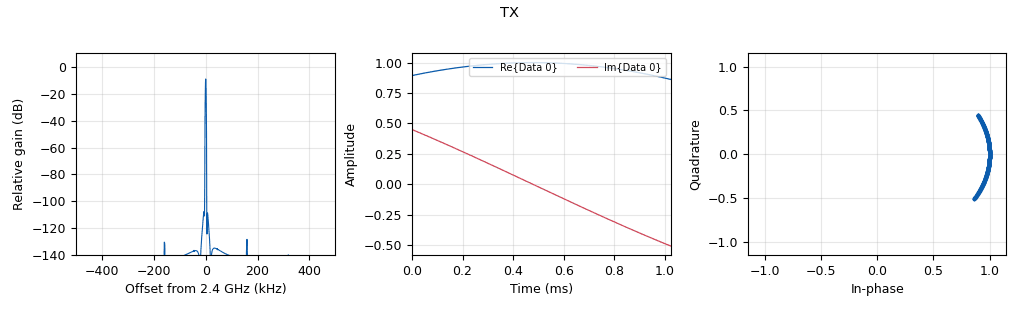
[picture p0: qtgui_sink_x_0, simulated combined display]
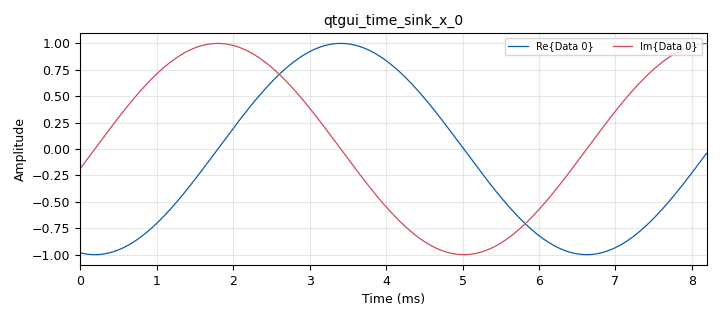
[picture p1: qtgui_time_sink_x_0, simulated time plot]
options:
  parameters:
    author: root
    generate_options: qt_gui
    id: tx
    output_language: python
    title: Tx
  states: {}

blocks:
- name: SDR_ID
  id: variable
  parameters:
    value: '"ip:192.168.2.1"'
  states: {}
- name: bandwidth
  id: variable
  parameters:
    value: '20000000'
  states: {}
- name: buffer_size
  id: variable
  parameters:
    value: '8192'
  states: {}
- name: freq
  id: variable
  parameters:
    value: '2400000000'
  states: {}
- name: gain
  id: variable
  parameters:
    value: '0'
  states: {}
- name: ls1_d0
  id: variable
  parameters:
    value: (1,1,-1,1,1,1,1,-1,1,1,-1,1,-1,-1,-1,1,1,1,-1,1,1,1,1,-1,-1,-1,1,-1,1,1,1,-1,1,1,-1,1,1,1,1,-1,1,1,-1,1,-1,-1,-1,1,-1,-1,1,-1,-1,-1,-1,1,1,1,-1,1,-1,-1,-1,1,1,1,-1,1,1,1,1,-1,1,1,-1,1,-1,-1,-1,1,1,1,-1,1,1,1,1,-1,-1,-1,1,-1,1,1,1,-1,-1,-1,1,-1,-1,-1,-1,1,-1,-1,1,-1,1,1,1,-1,1,1,-1,1,1,1,1,-1,-1,-1,1,-1,1,1,1,-1,1,1,-1,1,1,1,1,-1,1,1,-1,1,-1,-1,-1,1,1,1,-1,1,1,1,1,-1,-1,-1,1,-1,1,1,1,-1,1,1,-1,1,1,1,1,-1,1,1,-1,1,-1,-1,-1,1,-1,-1,1,-1,-1,-1,-1,1,1,1,-1,1,-1,-1,-1,1,-1,-1,1,-1,-1,-1,-1,1,-1,-1,1,-1,1,1,1,-1,-1,-1,1,-1,-1,-1,-1,1,1,1,-1,1,-1,-1,-1,1,1,1,-1,1,1,1,1,-1,1,1,-1,1,-1,-1,-1,1,-1,-1,1,-1,-1,-1,-1,1,1,1,-1,1,-1,-1,-1,1,0,0,0,0,0,0,0,0,0,0,0,0,0,0,0,0,0,0,0,0,0,0,0,0,0,0,0,0,0,0,0,0,0,0,0,0,0,0,0,0,0,0,0,0,0,0,0,0,0,0,0,0,0,0,0,0,0,0,0,0,0,0,0,0,0,0,0,0,0,0,0,0,0,0,0,0,0,0,0,0,0,0,0,0,0,0,0,0,0,0,0,0,0,0,0,0,0,0,0,0,0,0,0,0,0,0,0,0,0,0,0,0,0,0,0,0,0,0,0,0,0,0,0,0,0,0,0,0,0,0,0,0,0,0,0,0,0,0,0,0,0,0,0,0,0,0,0,0,0,0,0,0,0,0,0,0,0,0,0,0,0,0,0,0,0,0,0,0,0,0,0,0,0,0,0,0,0,0,0,0,0,0,0,0,0,0,0,0,0,0,0,0,0,0,0,0,0,0,0,0,0,0,0,0,0,0,0,0,0,0,0,0,0,0,0,0,0,0,0,0,0,0,0,0,0,0,0,0,0,0,0,0,0,0,0,0,0,0,0,0,0,0,0,0,0,0,0,0,0,0,0,0,0,0,0)
  states: {state: disabled}
- name: samp_rate
  id: variable
  parameters:
    value: '1000000'
  states: {}
- name: analog_sig_source_x_0
  id: analog_sig_source_x
  parameters:
    amp: '1'
    freq: freq
    offset: '0'
    phase: '0'
    samp_rate: samp_rate
    type: complex
    waveform: analog.GR_SIN_WAVE
  states: {}
- name: blocks_file_sink_0_0
  id: blocks_file_sink
  parameters:
    file: /root/tx_file_sink.iq
    type: complex
  states: {state: disabled}
- name: digital_glfsr_source_x_0
  id: digital_glfsr_source_x
  parameters:
    degree: '8'
    mask: '0'
    repeat: 'True'
    seed: '1'
    type: float
  states: {state: disabled}
- name: iio_pluto_sink_0
  id: iio_pluto_sink
  parameters:
    attenuation1: gain
    auto_filter: 'True'
    bandwidth: bandwidth
    buffer_size: buffer_size
    cyclic: 'False'
    frequency: freq
    samplerate: samp_rate
    uri: SDR_ID
  states: {}
- name: qtgui_sink_x_0
  id: qtgui_sink_x
  parameters:
    bw: samp_rate
    fc: freq
    fftsize: '1024'
    name: '"TX"'
    type: complex
    wintype: firdes.WIN_BLACKMAN_hARRIS
  states: {}
- name: qtgui_time_sink_x_0
  id: qtgui_time_sink_x
  parameters:
    autoscale: 'True'
    size: buffer_size
    srate: samp_rate
    type: complex
  states: {}

connections:
- [analog_sig_source_x_0, '0', blocks_file_sink_0_0, '0']
- [analog_sig_source_x_0, '0', iio_pluto_sink_0, '0']
- [analog_sig_source_x_0, '0', qtgui_sink_x_0, '0']
- [analog_sig_source_x_0, '0', qtgui_time_sink_x_0, '0']

metadata:
  file_format: 1
